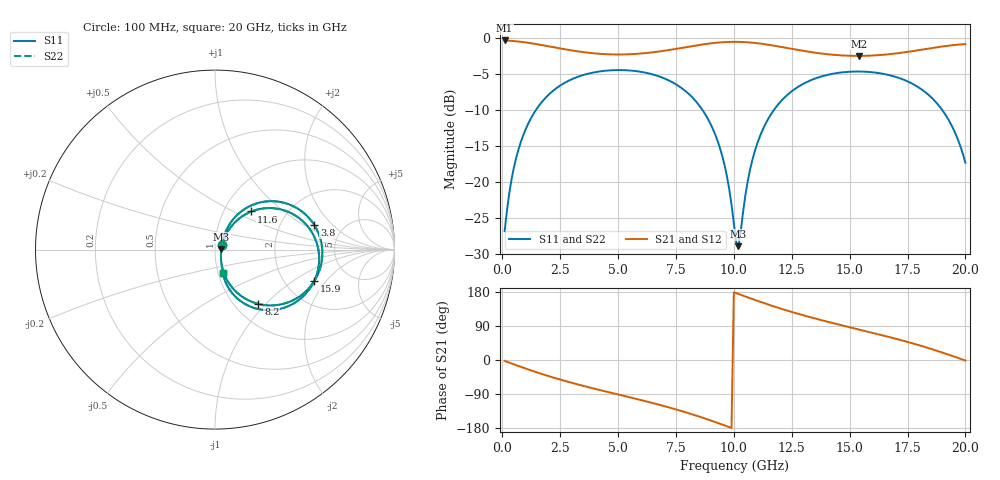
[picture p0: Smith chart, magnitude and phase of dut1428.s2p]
! Touchstone file exported from HFSS 2026.1.0
!  File:  C:/ffzhzh/LocalFiles/Ansys_Project_Files/temp_train_TSV_RDL_1428_1783355327_37376.aedt
!  Generated:  12:45:32 AM Jul  7, 2026
!  Design:  TSV_RDL
!  Project:  temp_train_TSV_RDL_1428_1783355327_37376
! Variables:
!  h_bsmrdl = 2.72um
!  h_ox = 20um
!  h_rdl = 5um
!  h_sub = 88.74um
!  h_tmrdl = 4.28um
!  h_tsv = 88.74um
!  h_via = 3um
!  l_bsmrdl = 560.73um
!  l_sub = 6098.76um
!  l_tmrdl = 977.12um
!  m_sub = 200um
!  pitch = 50.55um
!  r_tsv = 3.79um
!  s_tmrdl = 10um
!  w_bsmrdl = 10.34um
!  w_sub = 500um
!  w_tmrdl = 25.69um
!  x_tsv_center1 = 989.965um
!  x_tsv_center2 = 1561.035um
!  x_tsv_center3 = 2563.845um
!  x_tsv_center4 = 3134.915um
!  x_tsv_center5 = 4137.725um
!  x_tsv_center6 = 4708.795um
# GHz S MA R 50.000000
! Terminal data exported
! Port[1] = TM_RDL1_1_T1
! Port[2] = TM_RDL5_1_T1
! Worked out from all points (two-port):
!   200 points, 100 MHz to 20 GHz, reference 50 ohm
!   highest |S21| = -0.34 dB at 100 MHz (marker M1); lowest = -2.5 dB at 15.4 GHz (marker M2)
!   |S21| within 3 dB of the highest: start of sweep to end of sweep
!   lowest |S11| = -28.9 dB at 10.2 GHz (marker M3), VSWR 1.07, Z = 53.7 + j0.22 ohm
!   |S11| at or under -10 dB: start of sweep to 1.456 GHz; 8.643 GHz to 11.73 GHz (3.088 GHz wide, 30.3 % of centre); 19 GHz to end of sweep
!   |S22| runs from -28.8 to -4.5 dB; largest |S21 - S12| = 1.4e-14
!   S11 on the Smith chart (normalised r, x): 100 MHz: 1.08, +0.05; 3.8 GHz: 3.09, +1.26; 8.2 GHz: 1.27, -0.91; 11.6 GHz: 1.34, +0.63; 15.9 GHz: 2.88, -1.52; 20 GHz: 1.05, -0.28
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0.1  0.04539 31.2  0.9619 -2.4  0.9619 -2.4  0.04539 31.2
! Gamma 0 0 0 0
! Port Impedance 50 0 50 0
0.5  0.1254 59.7  0.9524 -11.4  0.9524 -11.4  0.1254 59.7
1.2  0.2694 54.7  0.9227 -26.6  0.9227 -26.6  0.2694 54.7
2.2  0.4307 38.6  0.8639 -46.2  0.8639 -46.2  0.4307 38.6
3.5  0.5533 18.4  0.7978 -68.3  0.7978 -68.3  0.5533 18.4
3.8  0.5697 14.0  0.7874 -73.0  0.7874 -73.0  0.5697 14.0
5.3  0.5975 -7.2  0.7694 -95.4  0.7694 -95.4  0.5975 -7.2
6.8  0.5389 -28.9  0.8073 -118.5  0.8073 -118.5  0.5389 -28.9
8.2  0.3876 -51.4  0.8787 -143.3  0.8787 -143.3  0.3876 -51.4
9.4  0.1718 -68.9  0.9322 -168.2  0.9322 -168.2  0.1719 -68.7
9.8  0.08913 -66.0  0.94 -177.0  0.94 -177.0  0.08931 -65.7
10.1  0.03828 -29.4  0.9412 176.3  0.9412 176.3  0.03877 -29.0
10.2  0.03571 3.3  0.9406 174.1  0.9406 174.1  0.03625 3.1
10.8  0.1419 55.1  0.9281 160.9  0.9281 160.9  0.1421 54.9
11.6  0.2942 46.3  0.8922 144.0  0.8922 144.0  0.2943 46.2
13.4  0.5147 17.8  0.7954 111.3  0.7954 111.3  0.5148 17.8
15.4  0.5849 -10.6  0.7513 80.6  0.7513 80.6  0.585 -10.6
15.9  0.5798 -17.5  0.7545 73.1  0.7545 73.1  0.5798 -17.6
16.7  0.5527 -28.8  0.7714 60.8  0.7714 60.8  0.5528 -28.9
18.8  0.3471 -61.0  0.8638 23.8  0.8638 23.8  0.3472 -61.0
19.5  0.2294 -70.4  0.8938 9.4  0.8938 9.4  0.2295 -70.5
20  0.1357 -71.4  0.9078 -1.4  0.9078 -1.4  0.1358 -71.5
